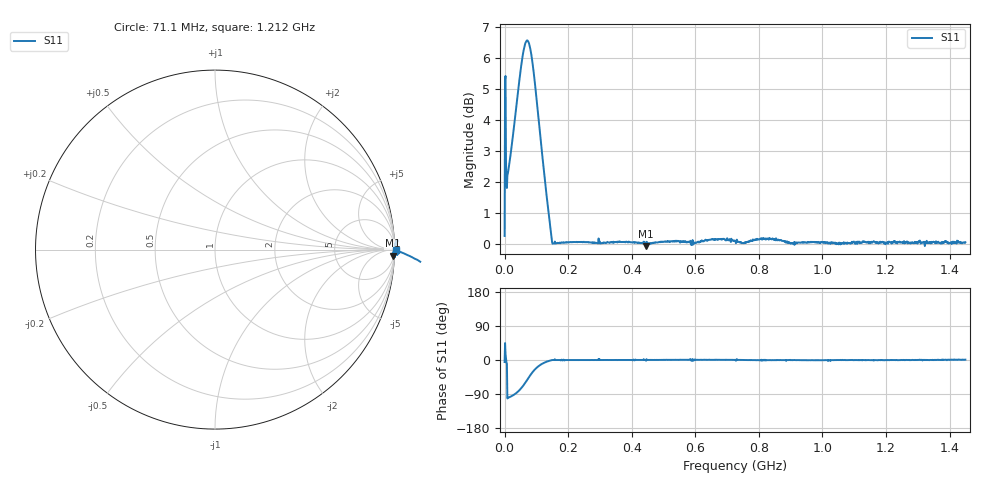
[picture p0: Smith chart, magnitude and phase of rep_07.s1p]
! Created with skrf 1.11.0 (http://scikit-rf.org).
# Hz S RI R 50.0
!freq ReS11 ImS11
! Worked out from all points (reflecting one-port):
!   1001 points, 50 kHz to 1.45 GHz, reference 50 ohm
!   lowest |S11| = -0.1 dB at 445.2 MHz (marker M1), VSWR 215.02, Z = 759 - j2.75e+03 ohm
!   phase of S11 starts at -5 deg and turns +6 deg over the sweep
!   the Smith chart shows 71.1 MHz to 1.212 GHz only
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50000  1.025 -0.0966
8749700  -0.2581 -1.261
1.019965e7  -0.2249 -1.28
1.16496e7  -0.2151 -1.294
1.599945e7  -0.1845 -1.347
2.759905e7  -0.0708 -1.513
3.77487e7  0.101 -1.677
4.64484e7  0.3229 -1.809
5.659805e7  0.6861 -1.889
6.529775e7  1.062 -1.824
7.54474e7  1.447 -1.545
8.269715e7  1.61 -1.259
8.99469e7  1.665 -0.9624
9.86466e7  1.622 -0.662
1.058964e8  1.542 -0.4674
1.14596e8  1.424 -0.2954
1.247457e8  1.286 -0.161
1.363453e8  1.143 -0.0675
1.493948e8  1.006 -0.00227
1.812938e8  1.004 -0.000733
3.625375e8  1.008 -0.001
4.451846e8  0.9902 -0.0334
5.437812e8  1.009 0.00749
7.25025e8  1.011 0.0073
9.062688e8  1 -0.0081
1.087512e9  1.001 -0.000496
1.268756e9  1.001 -0.00427
1.45e9  1.005 0.0142
